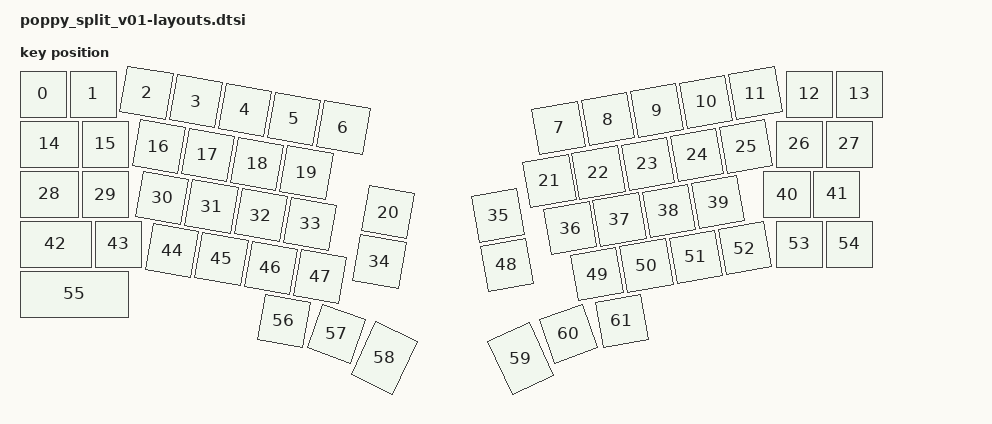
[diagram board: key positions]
// See https://zmk.dev/docs/development/hardware-integration/physical-layouts
// for how to configure this.

#include <physical_layouts.dtsi>

/ {
    default_layout: default_layout {
        compatible = "zmk,physical-layout";
        display-name = "Default Layout";
        transform = <&default_transform>;
        kscan = <&kscan>;

        // Edit this to define the positions and sizes of the keys, or remove it
        // if your keyboard will not support ZMK Studio.
        // https://zmk.dev/docs/development/hardware-integration/physical-layouts#optional-keys-property
        keys  //                     w   h    x    y     rot    rx    ry
            // Row 0 left
            = <&key_physical_attrs 100 100 (-69) (-206)       0     0     0>
            , <&key_physical_attrs 100 100   31 (-206)       0     0     0>
            , <&key_physical_attrs 100 100  181 (-300)    1000 (-312) (-450)>
            , <&key_physical_attrs 100 100  281 (-300)    1000 (-312) (-450)>
            , <&key_physical_attrs 100 100  381 (-300)    1000 (-312) (-450)>
            , <&key_physical_attrs 100 100  481 (-300)    1000 (-312) (-450)>
            , <&key_physical_attrs 100 100  581 (-300)    1000 (-312) (-450)>
            // Row 0 right
            , <&key_physical_attrs 100 100  913 (-300) (-1000)  1913 (-450)>
            , <&key_physical_attrs 100 100 1013 (-300) (-1000)  1913 (-450)>
            , <&key_physical_attrs 100 100 1113 (-300) (-1000)  1913 (-450)>
            , <&key_physical_attrs 100 100 1213 (-300) (-1000)  1913 (-450)>
            , <&key_physical_attrs 100 100 1313 (-300) (-1000)  1913 (-450)>
            , <&key_physical_attrs 100 100 1463 (-206)       0     0     0>
            , <&key_physical_attrs 100 100 1563 (-206)       0     0     0>
            // Row 1 left (island key last)
            , <&key_physical_attrs 125 100 (-69) (-106)       0     0     0>
            , <&key_physical_attrs 100 100   56 (-106)       0     0     0>
            , <&key_physical_attrs 100 100  206 (-200)    1000 (-331) (-350)>
            , <&key_physical_attrs 100 100  306 (-200)    1000 (-331) (-350)>
            , <&key_physical_attrs 100 100  406 (-200)    1000 (-331) (-350)>
            , <&key_physical_attrs 100 100  506 (-200)    1000 (-331) (-350)>
            , <&key_physical_attrs 100 100  681 (-150)    1000 (-331) (-350)>
            // Row 1 right
            , <&key_physical_attrs 100 100  894 (-200) (-1000)  1931 (-350)>
            , <&key_physical_attrs 100 100  994 (-200) (-1000)  1931 (-350)>
            , <&key_physical_attrs 100 100 1094 (-200) (-1000)  1931 (-350)>
            , <&key_physical_attrs 100 100 1194 (-200) (-1000)  1931 (-350)>
            , <&key_physical_attrs 100 100 1294 (-200) (-1000)  1931 (-350)>
            , <&key_physical_attrs 100 100 1444 (-106)       0     0     0>
            , <&key_physical_attrs 100 100 1544 (-106)       0     0     0>
            // Row 2 left (island key last)
            , <&key_physical_attrs 125 100 (-69) (-6)       0     0     0>
            , <&key_physical_attrs 100 100   56 (-5)       0     0     0>
            , <&key_physical_attrs 100 100  231 (-100)    1000 (-331) (-350)>
            , <&key_physical_attrs 100 100  331 (-100)    1000 (-331) (-350)>
            , <&key_physical_attrs 100 100  431 (-100)    1000 (-331) (-350)>
            , <&key_physical_attrs 100 100  531 (-100)    1000 (-331) (-350)>
            , <&key_physical_attrs 100 100  681 (-50)    1000 (-331) (-350)>
            // Row 2 right (island key first)
            , <&key_physical_attrs 100 100  781 (-150) (-1000)  1931 (-350)>
            , <&key_physical_attrs 100 100  919 (-100) (-1000)  1931 (-350)>
            , <&key_physical_attrs 100 100 1019 (-100) (-1000)  1931 (-350)>
            , <&key_physical_attrs 100 100 1119 (-100) (-1000)  1931 (-350)>
            , <&key_physical_attrs 100 100 1219 (-100) (-1000)  1931 (-350)>
            , <&key_physical_attrs 100 100 1419 (-5)       0     0     0>
            , <&key_physical_attrs 100 100 1519 (-6)       0     0     0>
            // Row 3 left
            , <&key_physical_attrs 150 100 (-69)   94       0     0     0>
            , <&key_physical_attrs 100 100   81   94       0     0     0>
            , <&key_physical_attrs 100 100  269    0    1000 (-331) (-350)>
            , <&key_physical_attrs 100 100  369    0    1000 (-331) (-350)>
            , <&key_physical_attrs 100 100  469    0    1000 (-331) (-350)>
            , <&key_physical_attrs 100 100  569    0    1000 (-331) (-350)>
            // Row 3 right (island key first)
            , <&key_physical_attrs 100 100  781 (-50) (-1000)  1931 (-350)>
            , <&key_physical_attrs 100 100  956    0 (-1000)  1931 (-350)>
            , <&key_physical_attrs 100 100 1056    0 (-1000)  1931 (-350)>
            , <&key_physical_attrs 100 100 1156    0 (-1000)  1931 (-350)>
            , <&key_physical_attrs 100 100 1256    0 (-1000)  1931 (-350)>
            , <&key_physical_attrs 100 100 1444   94       0     0     0>
            , <&key_physical_attrs 100 100 1544   94       0     0     0>
            // Row 4 left (thumbs)
            , <&key_physical_attrs 225 100 (-69)  194       0     0     0>
            , <&key_physical_attrs 100 100  513  100    1000 (-331) (-350)>
            , <&key_physical_attrs 100 100  694 (-75)    2000 (-331) (-350)>
            , <&key_physical_attrs 100 125  825 (-181)    2500 (-337) (-350)>
            // Row 4 right (thumbs)
            , <&key_physical_attrs 100 125  675 (-181) (-2500)  1938 (-350)>
            , <&key_physical_attrs 100 100  806 (-75) (-2000)  1931 (-350)>
            , <&key_physical_attrs 100 100  988  100 (-1000)  1931 (-350)>
            ;
    };
};
